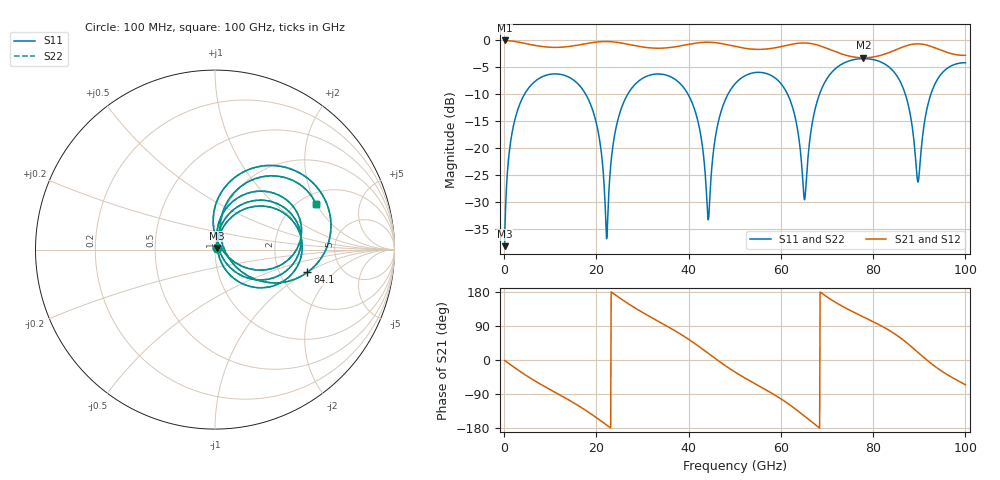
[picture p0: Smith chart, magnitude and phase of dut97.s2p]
! Touchstone file exported from HFSS 2026.1.0
!  File:  C:/ffzhzh/LocalFiles/Ansys_Project_Files/temp_train_TSV_RDL_97_1783632734_33328.aedt
!  Generated:  05:40:08 AM Jul 10, 2026
!  Design:  TSV_RDL
!  Project:  temp_train_TSV_RDL_97_1783632734_33328
! Variables:
!  h_bsmrdl = 3.97um
!  h_ox = 20um
!  h_rdl = 5um
!  h_sub = 95.62um
!  h_tmrdl = 4.2um
!  h_tsv = 95.62um
!  h_via = 3um
!  l_bsmrdl = 334.61um
!  l_sub = 2389.2um
!  l_tmrdl = 210.92um
!  m_sub = 200um
!  pitch = 56.74um
!  r_tsv = 9.41um
!  s_tmrdl = 10um
!  w_bsmrdl = 28.33um
!  w_sub = 500um
!  w_tmrdl = 18.9um
!  x_tsv_center1 = 220.37um
!  x_tsv_center2 = 583.31um
!  x_tsv_center3 = 813.13um
!  x_tsv_center4 = 1176.07um
!  x_tsv_center5 = 1405.89um
!  x_tsv_center6 = 1768.83um
# GHz S MA R 50.000000
! Terminal data exported
! Port[1] = TM_RDL1_1_T1
! Port[2] = TM_RDL5_1_T1
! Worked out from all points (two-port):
!   1000 points, 100 MHz to 100 GHz, reference 50 ohm
!   highest |S21| = -0.08 dB at 100 MHz (marker M1); lowest = -3.3 dB at 77.9 GHz (marker M2)
!   |S21| within 3 dB of the highest: start of sweep to 75.41 GHz; 80.45 GHz to end of sweep
!   lowest |S11| = -38.2 dB at 100 MHz (marker M3), VSWR 1.03, Z = 50.9 + j0.889 ohm
!   |S11| at or under -10 dB: 17.66 GHz to 26.82 GHz (9.155 GHz wide, 41.2 % of centre); 39.84 GHz to 48.55 GHz (8.703 GHz wide, 19.7 % of centre); 61.43 GHz to 68.38 GHz (6.951 GHz wide, 10.7 % of centre) (the widest 3 of 5)
!   |S22| runs from -38.2 to -3.4 dB; largest |S21 - S12| = 7.9e-14
!   S11 on the Smith chart (normalised r, x): 100 MHz: 1.02, +0.02; 84.1 GHz: 2.86, -1.01; 100 GHz: 2.41, +1.98
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0.1  0.01237 44.9  0.9913 -0.9  0.9913 -0.9  0.01237 44.9
! Gamma 0 0 0 0
! Port Impedance 50 0 50 0
1.5  0.122 70.9  0.9806 -13.5  0.9806 -13.5  0.122 70.9
4.4  0.3146 49.2  0.9332 -38.0  0.9332 -38.0  0.3146 49.2
16.8  0.3592 -35.8  0.9107 -125.9  0.9107 -125.9  0.3593 -35.7
20.3  0.1479 -60.8  0.9611 -154.7  0.9611 -154.7  0.1479 -60.6
22.2  0.01451 -2.2  0.9691 -171.4  0.9691 -171.4  0.01478 -2.2
25.6  0.2454 65.1  0.9353 159.1  0.9353 159.1  0.2453 65.0
33.4  0.4854 11.4  0.8403 102.3  0.8403 102.3  0.4854 11.5
40.9  0.2533 -39.8  0.9271 47.1  0.9271 47.1  0.2534 -39.6
44.2  0.02178 6.2  0.9549 18.0  0.9549 18.0  0.02253 6.6
46.5  0.1799 80.1  0.9371 -2.6  0.9371 -2.6  0.1799 79.9
50.1  0.3953 55.0  0.8723 -32.2  0.8723 -32.2  0.3952 55.0
60.6  0.3654 -14.6  0.8805 -107.2  0.8805 -107.2  0.3653 -14.5
65.1  0.03329 25.9  0.9397 -147.9  0.9397 -147.9  0.03414 26.3
66.7  0.1613 93.7  0.9253 -163.6  0.9253 -163.6  0.1616 93.4
77.9  0.6731 23.2  0.6849 113.7  0.6849 113.7  0.6732 23.2
83.4  0.565 -9.1  0.7649 78.7  0.7649 78.7  0.565 -9.0
84.1  0.5304 -13.8  0.7858 73.5  0.7858 73.5  0.5305 -13.7
87.4  0.273 -36.8  0.8905 44.3  0.8905 44.3  0.2732 -36.5
89.7  0.04848 16.3  0.9225 20.3  0.9225 20.3  0.05013 16.5
93.2  0.3758 68.2  0.8531 -15.0  0.8531 -15.0  0.3761 67.9
100  0.6165 24.4  0.7223 -65.4  0.7223 -65.4  0.6166 24.3
